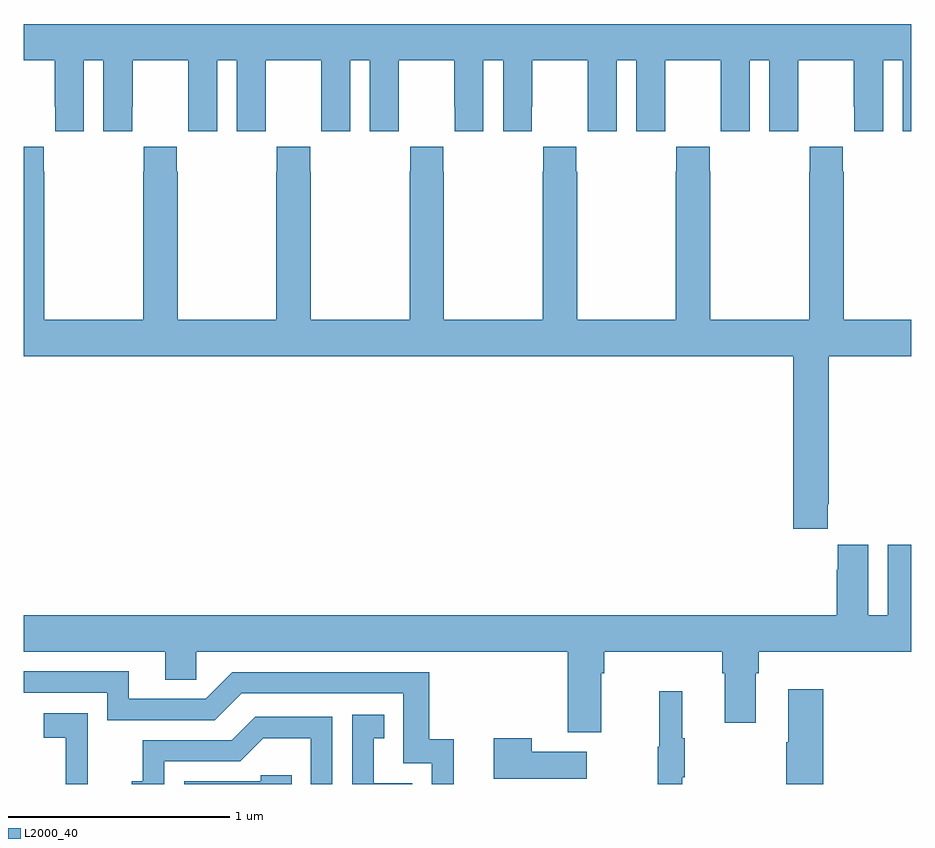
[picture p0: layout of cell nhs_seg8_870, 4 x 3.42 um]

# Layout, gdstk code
import gdstk
lib = gdstk.Library(unit=1e-6, precision=1e-09)
def P(c, l, *ps):  # polygons
    for p in ps: c.add(gdstk.Polygon(p, *l))
L2000_40 = (2000, 40)

nhs_seg8_870 = lib.new_cell('nhs_seg8_870')
P(nhs_seg8_870, L2000_40, [(167.272,1123.16),(167.36,1123.16),(167.36,1122.84),(167.49,1122.84),(167.49,1122.952),(167.491,1122.952),(167.491,1123.16),(167.741,1123.16),(167.741,1122.952),(167.742,1122.952),(167.742,1122.84),(167.872,1122.84),(167.872,1123.16),(167.96,1123.16),(167.96,1122.84),(168.09,1122.84),(168.09,1122.952),(168.091,1122.952),(168.091,1123.16),(168.341,1123.16),(168.341,1122.952),(168.342,1122.952),(168.342,1122.84),(168.472,1122.84),(168.472,1123.16),(168.56,1123.16),(168.56,1122.84),(168.69,1122.84),(168.69,1122.952),(168.691,1122.952),(168.691,1123.16),(168.941,1123.16),(168.941,1122.952),(168.942,1122.952),(168.942,1122.84),(169.072,1122.84),(169.072,1123.16),(169.16,1123.16),(169.16,1122.84),(169.29,1122.84),(169.29,1122.952),(169.291,1122.952),(169.291,1123.16),(169.541,1123.16),(169.541,1122.952),(169.542,1122.952),(169.542,1122.84),(169.672,1122.84),(169.672,1123.16),(169.76,1123.16),(169.76,1122.84),(169.89,1122.84),(169.89,1122.952),(169.891,1122.952),(169.891,1123.16),(170.141,1123.16),(170.141,1122.952),(170.142,1122.952),(170.142,1122.84),(170.272,1122.84),(170.272,1123.16),(170.36,1123.16),(170.36,1122.84),(170.49,1122.84),(170.49,1122.952),(170.491,1122.952),(170.491,1123.16),(170.741,1123.16),(170.741,1122.952),(170.742,1122.952),(170.742,1122.84),(170.872,1122.84),(170.872,1123.16),(170.96,1123.16),(170.96,1122.84),(171,1122.84),(171,1123.324),(167,1123.324),(167,1123.16),(167.141,1123.16),(167.141,1122.952),(167.142,1122.952),(167.142,1122.84),(167.272,1122.84)],
  [(170.623,1121.161),(170.628,1121.161),(170.628,1121.828),(171,1121.828),(171,1121.992),(170.694,1121.992),(170.694,1122.659),(170.691,1122.659),(170.691,1122.772),(170.541,1122.772),(170.541,1122.659),(170.539,1122.659),(170.539,1121.992),(170.094,1121.992),(170.094,1122.659),(170.091,1122.659),(170.091,1122.772),(169.941,1122.772),(169.941,1122.659),(169.939,1122.659),(169.939,1121.992),(169.494,1121.992),(169.494,1122.659),(169.491,1122.659),(169.491,1122.772),(169.341,1122.772),(169.341,1122.659),(169.339,1122.659),(169.339,1121.992),(168.894,1121.992),(168.894,1122.659),(168.891,1122.659),(168.891,1122.772),(168.741,1122.772),(168.741,1122.659),(168.739,1122.659),(168.739,1121.992),(168.294,1121.992),(168.294,1122.659),(168.291,1122.659),(168.291,1122.772),(168.141,1122.772),(168.141,1122.659),(168.139,1122.659),(168.139,1121.992),(167.694,1121.992),(167.694,1122.659),(167.691,1122.659),(167.691,1122.772),(167.541,1122.772),(167.541,1122.659),(167.539,1122.659),(167.539,1121.992),(167.094,1121.992),(167.094,1122.659),(167.091,1122.659),(167.091,1122.772),(167,1122.772),(167,1121.828),(170.468,1121.828),(170.468,1121.049),(170.623,1121.049)],
  [(169.603,1120.4),(169.616,1120.4),(169.616,1120.496),(170.147,1120.496),(170.147,1120.4),(170.159,1120.4),(170.159,1120.176),(170.299,1120.176),(170.299,1120.4),(170.312,1120.4),(170.312,1120.496),(171,1120.496),(171,1120.978),(170.894,1120.978),(170.894,1120.66),(170.806,1120.66),(170.806,1120.978),(170.669,1120.978),(170.669,1120.865),(170.663,1120.865),(170.663,1120.66),(167,1120.66),(167,1120.496),(167.639,1120.496),(167.639,1120.369),(167.778,1120.369),(167.778,1120.496),(169.451,1120.496),(169.451,1120.134),(169.603,1120.134)],
  [(168.938,1120.102),(168.827,1120.102),(168.827,1120.404),(167.94,1120.404),(167.82,1120.284),(167.473,1120.284),(167.473,1120.407),(167,1120.407),(167,1120.311),(167.376,1120.311),(167.376,1120.188),(167.862,1120.188),(167.982,1120.308),(168.711,1120.308),(168.711,1119.993),(168.84,1119.993),(168.84,1119.9),(168.938,1119.9)],
  [(170.603,1120.327),(170.444,1120.327),(170.444,1120.088),(170.437,1120.088),(170.437,1119.9),(170.603,1119.9)],
  [(169.967,1119.931),(169.978,1119.931),(169.978,1120.105),(169.967,1120.105),(169.967,1120.318),(169.864,1120.318),(169.864,1120.068),(169.857,1120.068),(169.857,1119.9),(169.967,1119.9)],
  [(167.288,1120.013),(167.289,1120.013),(167.289,1120.219),(167.091,1120.219),(167.091,1120.109),(167.189,1120.109),(167.189,1119.9),(167.288,1119.9)],
  [(168.75,1119.903),(168.577,1119.903),(168.577,1120.107),(168.626,1120.107),(168.626,1120.213),(168.48,1120.213),(168.48,1119.9),(168.75,1119.9)],
  [(167.634,1120.002),(167.976,1120.002),(168.08,1120.106),(168.294,1120.106),(168.294,1119.9),(168.39,1119.9),(168.39,1120.203),(168.044,1120.203),(167.939,1120.098),(167.536,1120.098),(167.536,1119.913),(167.487,1119.913),(167.487,1119.9),(167.634,1119.9)],
  [(169.537,1120.045),(169.289,1120.045),(169.289,1120.105),(169.118,1120.105),(169.118,1119.923),(169.537,1119.923)],
  [(168.209,1119.939),(168.069,1119.939),(168.069,1119.912),(167.724,1119.912),(167.724,1119.9),(168.209,1119.9)])

lib.write_gds('nhs_seg8_870.gds')
